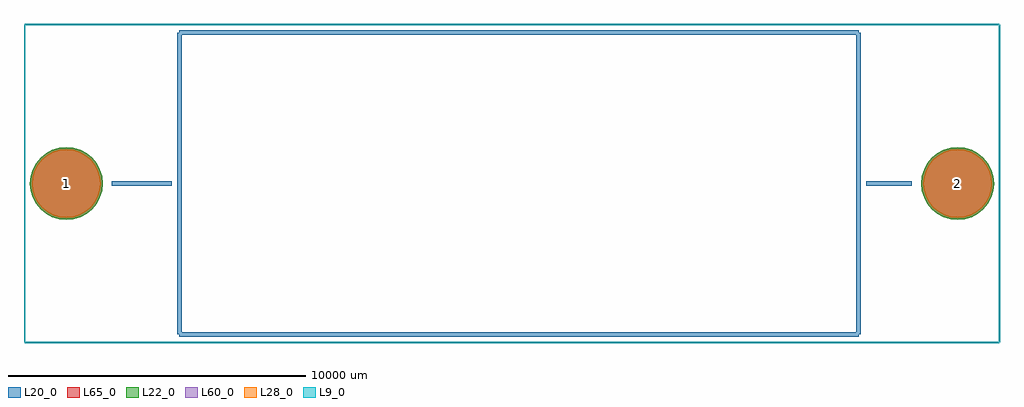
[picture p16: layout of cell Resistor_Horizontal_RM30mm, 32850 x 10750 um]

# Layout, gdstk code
import gdstk
lib = gdstk.Library(unit=1e-6, precision=1e-09)
def P(c, l, *ps):  # polygons
    for p in ps: c.add(gdstk.Polygon(p, *l))
L9_0 = (9, 0)
L20_0 = (20, 0)
L22_0 = (22, 0)
L28_0 = (28, 0)
L60_0 = (60, 0)
L65_0 = (65, 0)

resistor_horizontal_rm30 = lib.new_cell('Resistor_Horizontal_RM30mm')
P(resistor_horizontal_rm30, L22_0, [(31225.62,0),(31202.07,239.107),(31132.325,469.024),(31019.066,680.918),(30866.644,866.644),(30680.918,1019.066),(30469.024,1132.325),(30239.107,1202.07),(30000,1225.62),(29760.893,1202.07),(29530.976,1132.325),(29319.082,1019.066),(29133.356,866.644),(28980.934,680.918),(28867.675,469.024),(28797.93,239.107),(28774.38,0),(28797.93,-239.107),(28867.675,-469.024),(28980.934,-680.918),(29133.356,-866.644),(29319.082,-1019.066),(29530.976,-1132.325),(29760.893,-1202.07),(30000,-1225.62),(30239.107,-1202.07),(30469.024,-1132.325),(30680.918,-1019.066),(30866.644,-866.644),(31019.066,-680.918),(31132.325,-469.024),(31202.07,-239.107)],
  [(1225.62,0),(1202.07,239.107),(1132.325,469.024),(1019.066,680.918),(866.644,866.644),(680.918,1019.066),(469.024,1132.325),(239.107,1202.07),(0,1225.62),(-239.107,1202.07),(-469.024,1132.325),(-680.918,1019.066),(-866.644,866.644),(-1019.066,680.918),(-1132.325,469.024),(-1202.07,239.107),(-1225.62,0),(-1202.07,-239.107),(-1132.325,-469.024),(-1019.066,-680.918),(-866.644,-866.644),(-680.918,-1019.066),(-469.024,-1132.325),(-239.107,-1202.07),(0,-1225.62),(239.107,-1202.07),(469.024,-1132.325),(680.918,-1019.066),(866.644,-866.644),(1019.066,-680.918),(1132.325,-469.024),(1202.07,-239.107)])
P(resistor_horizontal_rm30, L28_0, [(31150.62,0),(31128.511,224.475),(31063.034,440.323),(30956.706,639.25),(30813.611,813.611),(30639.25,956.706),(30440.323,1063.034),(30224.475,1128.511),(30000,1150.62),(29775.525,1128.511),(29559.677,1063.034),(29360.75,956.706),(29186.389,813.611),(29043.294,639.25),(28936.966,440.323),(28871.489,224.475),(28849.38,0),(28871.489,-224.475),(28936.966,-440.323),(29043.294,-639.25),(29186.389,-813.611),(29360.75,-956.706),(29559.677,-1063.034),(29775.525,-1128.511),(30000,-1150.62),(30224.475,-1128.511),(30440.323,-1063.034),(30639.25,-956.706),(30813.611,-813.611),(30956.706,-639.25),(31063.034,-440.323),(31128.511,-224.475)],
  [(1150.62,0),(1128.511,224.475),(1063.034,440.323),(956.706,639.25),(813.611,813.611),(639.25,956.706),(440.323,1063.034),(224.475,1128.511),(0,1150.62),(-224.475,1128.511),(-440.323,1063.034),(-639.25,956.706),(-813.611,813.611),(-956.706,639.25),(-1063.034,440.323),(-1128.511,224.475),(-1150.62,0),(-1128.511,-224.475),(-1063.034,-440.323),(-956.706,-639.25),(-813.611,-813.611),(-639.25,-956.706),(-440.323,-1063.034),(-224.475,-1128.511),(0,-1150.62),(224.475,-1128.511),(440.323,-1063.034),(639.25,-956.706),(813.611,-813.611),(956.706,-639.25),(1063.034,-440.323),(1128.511,-224.475)])
P(resistor_horizontal_rm30, L60_0, [(31150.62,0),(31128.511,224.475),(31063.034,440.323),(30956.706,639.25),(30813.611,813.611),(30639.25,956.706),(30440.323,1063.034),(30224.475,1128.511),(30000,1150.62),(29775.525,1128.511),(29559.677,1063.034),(29360.75,956.706),(29186.389,813.611),(29043.294,639.25),(28936.966,440.323),(28871.489,224.475),(28849.38,0),(28871.489,-224.475),(28936.966,-440.323),(29043.294,-639.25),(29186.389,-813.611),(29360.75,-956.706),(29559.677,-1063.034),(29775.525,-1128.511),(30000,-1150.62),(30224.475,-1128.511),(30440.323,-1063.034),(30639.25,-956.706),(30813.611,-813.611),(30956.706,-639.25),(31063.034,-440.323),(31128.511,-224.475)],
  [(1150.62,0),(1128.511,224.475),(1063.034,440.323),(956.706,639.25),(813.611,813.611),(639.25,956.706),(440.323,1063.034),(224.475,1128.511),(0,1150.62),(-224.475,1128.511),(-440.323,1063.034),(-639.25,956.706),(-813.611,813.611),(-956.706,639.25),(-1063.034,440.323),(-1128.511,224.475),(-1150.62,0),(-1128.511,-224.475),(-1063.034,-440.323),(-956.706,-639.25),(-813.611,-813.611),(-639.25,-956.706),(-440.323,-1063.034),(-224.475,-1128.511),(0,-1150.62),(224.475,-1128.511),(440.323,-1063.034),(639.25,-956.706),(813.611,-813.611),(956.706,-639.25),(1063.034,-440.323),(1128.511,-224.475)])
P(resistor_horizontal_rm30, L65_0, [(31225.62,0),(31202.07,239.107),(31132.325,469.024),(31019.066,680.918),(30866.644,866.644),(30680.918,1019.066),(30469.024,1132.325),(30239.107,1202.07),(30000,1225.62),(29760.893,1202.07),(29530.976,1132.325),(29319.082,1019.066),(29133.356,866.644),(28980.934,680.918),(28867.675,469.024),(28797.93,239.107),(28774.38,0),(28797.93,-239.107),(28867.675,-469.024),(28980.934,-680.918),(29133.356,-866.644),(29319.082,-1019.066),(29530.976,-1132.325),(29760.893,-1202.07),(30000,-1225.62),(30239.107,-1202.07),(30469.024,-1132.325),(30680.918,-1019.066),(30866.644,-866.644),(31019.066,-680.918),(31132.325,-469.024),(31202.07,-239.107)],
  [(1225.62,0),(1202.07,239.107),(1132.325,469.024),(1019.066,680.918),(866.644,866.644),(680.918,1019.066),(469.024,1132.325),(239.107,1202.07),(0,1225.62),(-239.107,1202.07),(-469.024,1132.325),(-680.918,1019.066),(-866.644,866.644),(-1019.066,680.918),(-1132.325,469.024),(-1202.07,239.107),(-1225.62,0),(-1202.07,-239.107),(-1132.325,-469.024),(-1019.066,-680.918),(-866.644,-866.644),(-680.918,-1019.066),(-469.024,-1132.325),(-239.107,-1202.07),(0,-1225.62),(239.107,-1202.07),(469.024,-1132.325),(680.918,-1019.066),(866.644,-866.644),(1019.066,-680.918),(1132.325,-469.024),(1202.07,-239.107)])
resistor_horizontal_rm30.add(gdstk.FlexPath([(3808.76,-5080),(3808.76,5080)], 149.998, ends="flush", simple_path=True, layer=20, datatype=0))  # L20_0
resistor_horizontal_rm30.add(gdstk.FlexPath([(26668.76,-5080),(3808.76,-5080)], 149.998, ends="flush", simple_path=True, layer=20, datatype=0))  # L20_0
resistor_horizontal_rm30.add(gdstk.FlexPath([(26668.76,5080),(26668.76,-5080)], 149.998, ends="flush", simple_path=True, layer=20, datatype=0))  # L20_0
resistor_horizontal_rm30.add(gdstk.FlexPath([(3808.76,5080),(26668.76,5080)], 149.998, ends="flush", simple_path=True, layer=20, datatype=0))  # L20_0
resistor_horizontal_rm30.add(gdstk.FlexPath([(26922.76,0),(28446.76,0)], 149.998, ends="flush", simple_path=True, layer=20, datatype=0))  # L20_0
resistor_horizontal_rm30.add(gdstk.FlexPath([(3554.76,0),(1522.76,0)], 149.998, ends="flush", simple_path=True, layer=20, datatype=0))  # L20_0
resistor_horizontal_rm30.add(gdstk.FlexPath([(31400,-5350),(-1400,-5350)], 50, ends="flush", simple_path=True, layer=9, datatype=0))  # L9_0
resistor_horizontal_rm30.add(gdstk.FlexPath([(31400,5350),(31400,-5350)], 50, ends="flush", simple_path=True, layer=9, datatype=0))  # L9_0
resistor_horizontal_rm30.add(gdstk.FlexPath([(-1400,5350),(31400,5350)], 50, ends="flush", simple_path=True, layer=9, datatype=0))  # L9_0
resistor_horizontal_rm30.add(gdstk.FlexPath([(-1400,-5350),(-1400,5350)], 50, ends="flush", simple_path=True, layer=9, datatype=0))  # L9_0
resistor_horizontal_rm30.add(gdstk.Label('2', (30000,0), layer=28, texttype=0))
resistor_horizontal_rm30.add(gdstk.Label('1', (0,0), layer=28, texttype=0))
resistor_horizontal_rm30.add(gdstk.Label('type', (15000,-8498.84), layer=9, texttype=0))
resistor_horizontal_rm30.add(gdstk.Label('devicename', (15000,6499.86), layer=9, texttype=0))

lib.write_gds('Resistor_Horizontal_RM30mm.gds')
